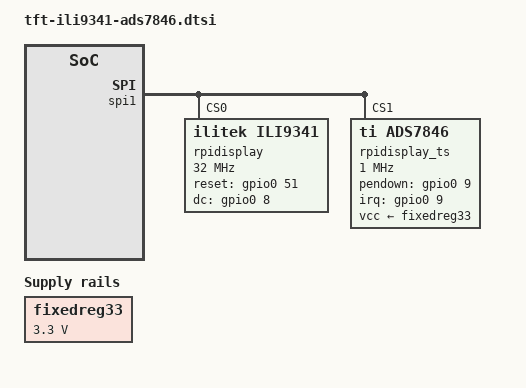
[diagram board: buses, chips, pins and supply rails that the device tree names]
/*
 * TFT controller specific code
 */

/include/ "tft-E2.dtsi"

&spi1 {
	num-cs = <2>;
	pinctrl-names = "default";
	pinctrl-0 = <&pinctrl_spi1_tft>;

	rpidisplay: rpi-display@0 {
		compatible = "ilitek,ili9341";
		reg = <0>;

		spi-max-frequency = <32000000>;
		rotate = <90>;
		fps = <10>;
		bgr;
		buswidth = <8>;
		reset-gpios = <&gpio0 51 0>;
		dc-gpios = <&gpio0 8 0>;
		debug = <0>;
	};

	rpidisplay_ts: rpi-display-ts@1 {
		compatible = "ti,ads7846";
		reg = <1>;

		ti,swap-xy;
		spi-max-frequency = <1000000>;
		pendown-gpio = <&gpio0 9 0>;
		interrupts = <9 0>;
		interrupt-parent = <&gpio0>;
		vcc-supply = <&fixedreg33>;
	};
};

/{
	// Backlight should be uncommented if there is a GPIO available
//	backlight {
//		compatible = "gpio-backlight";
//		gpios = <&gpio0 63 0>;
//		default-on;
//	};

	fixedreg33: fixed33@0 {
		compatible = "regulator-fixed";
		regulator-name = "fixed-supply";
		regulator-min-microvolt = <3300000>;
		regulator-max-microvolt = <3300000>;
	};
};
